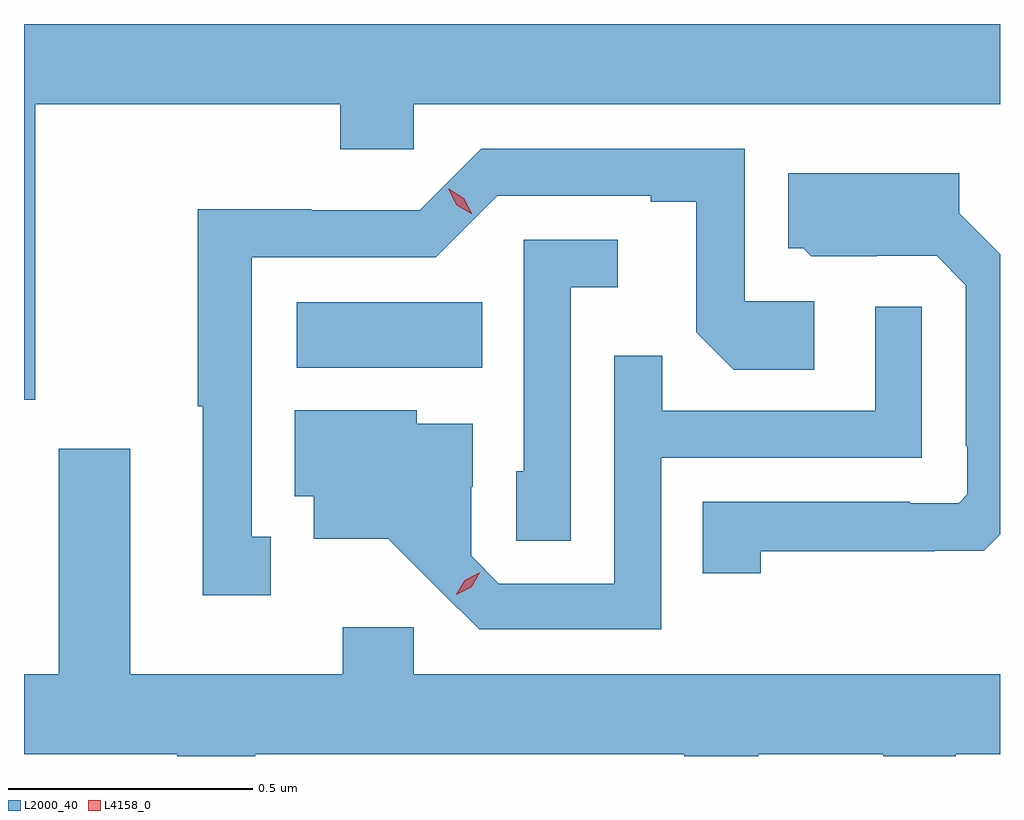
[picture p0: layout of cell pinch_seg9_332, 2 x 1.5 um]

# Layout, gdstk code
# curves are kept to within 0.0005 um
import gdstk
lib = gdstk.Library(unit=1e-6, precision=1e-09)
def R(c, l, rs):  # rectangles x0, y0, x1, y1
    for r in rs: c.add(gdstk.rectangle(r[:2], r[2:], *l))
def P(c, l, *ps):  # polygons
    for p in ps: c.add(gdstk.Polygon(p, *l))
L2000_40 = (2000, 40)
L4158_0 = (4158, 0)

pinch_seg9_332 = lib.new_cell('pinch_seg9_332')
R(pinch_seg9_332, L2000_40, [(635.988,1181.228,636.368,1181.362)])
P(pinch_seg9_332, L2000_40, [(635.452,1181.768),(636.077,1181.768),(636.077,1181.675),(636.228,1181.675),(636.228,1181.768),(637.429,1181.768),(637.429,1181.932),(635.429,1181.932),(635.429,1181.162),(635.452,1181.162)],
  [(635.935,1180.881),(635.896,1180.881),(635.896,1181.454),(636.273,1181.454),(636.399,1181.58),(636.713,1181.58),(636.713,1181.568),(636.807,1181.568),(636.807,1181.3),(636.883,1181.224),(637.048,1181.224),(637.048,1181.364),(636.906,1181.364),(636.906,1181.676),(636.366,1181.676),(636.24,1181.55),(636.018,1181.55),(636.018,1181.552),(635.785,1181.552),(635.785,1181.149),(635.795,1181.149),(635.795,1180.761),(635.935,1180.761)],
  [(636.939,1180.852),(637.295,1180.852),(637.295,1180.853),(637.396,1180.853),(637.429,1180.886),(637.429,1181.46),(637.345,1181.544),(637.345,1181.626),(636.995,1181.626),(636.995,1181.472),(637.026,1181.472),(637.042,1181.456),(637.176,1181.456),(637.176,1181.457),(637.299,1181.457),(637.359,1181.397),(637.359,1181.068),(637.362,1181.068),(637.362,1180.968),(637.344,1180.95),(637.244,1180.95),(637.244,1180.953),(636.82,1180.953),(636.82,1180.806),(636.939,1180.806)],
  [(636.549,1181.393),(636.646,1181.393),(636.646,1181.49),(636.453,1181.49),(636.453,1181.016),(636.438,1181.016),(636.438,1180.873),(636.549,1180.873)],
  [(636.735,1181.043),(637.269,1181.043),(637.269,1181.353),(637.173,1181.353),(637.173,1181.139),(636.737,1181.139),(636.737,1181.252),(636.639,1181.252),(636.639,1180.785),(636.402,1180.785),(636.345,1180.842),(636.345,1180.984),(636.349,1180.984),(636.349,1181.113),(636.234,1181.113),(636.234,1181.14),(635.984,1181.14),(635.984,1180.964),(636.023,1180.964),(636.023,1180.877),(636.175,1180.877),(636.362,1180.692),(636.735,1180.692)],
  [(635.903,1180.436),(636.782,1180.436),(636.782,1180.432),(636.934,1180.432),(636.934,1180.436),(637.19,1180.436),(637.19,1180.432),(637.338,1180.432),(637.338,1180.436),(637.429,1180.436),(637.429,1180.6),(636.228,1180.6),(636.228,1180.696),(636.082,1180.696),(636.082,1180.6),(635.647,1180.6),(635.647,1181.062),(635.5,1181.062),(635.5,1180.6),(635.429,1180.6),(635.429,1180.436),(635.743,1180.436),(635.743,1180.432),(635.903,1180.432)])
P(pinch_seg9_332, L4158_0, [(636.348,1181.542),(636.316,1181.561),(636.298,1181.594),(636.298,1181.594),(636.299,1181.594),(636.33,1181.575),(636.348,1181.542),(636.348,1181.542)],
  [(636.315,1180.762),(636.315,1180.763),(636.332,1180.792),(636.362,1180.808),(636.363,1180.808),(636.363,1180.808),(636.346,1180.778),(636.315,1180.762)])

lib.write_gds('pinch_seg9_332.gds')
